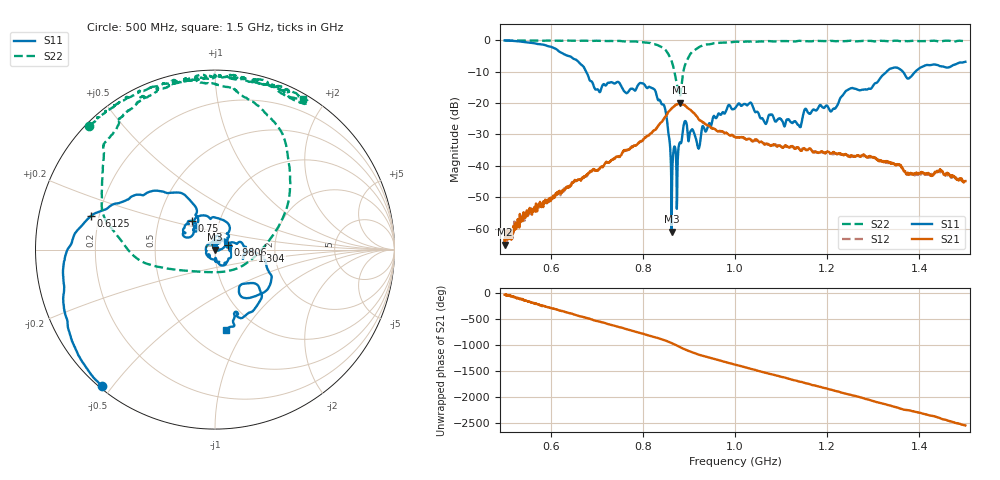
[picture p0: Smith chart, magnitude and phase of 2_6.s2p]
!Agilent Technologies,E8364B,US42250235,A.06.04.32
!Agilent E8364B: A.06.04.32
!Date: Friday, January 15, 2021 16:29:18
!Correction: S11(Full 2 Port(1,2)) S21(Full 2 Port(1,2)) S12(Full 2 Port(1,2)) S22(Full 2 Port(1,2))
!S2P File: Measurements: S11, S21, S12, S22:
# Hz S  dB  R 50
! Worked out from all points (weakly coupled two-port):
!   1601 points, 500 MHz to 1.5 GHz, reference 50 ohm
!   highest |S21| = -19.95 dB at 880 MHz (marker M1); lowest = -65.1 dB at 500.6 MHz (marker M2)
!   lowest |S11| = -61.0 dB at 862.5 MHz (marker M3), VSWR 1.00, Z = 50.1 + j0.0114 ohm
!   |S11| at or under -10 dB: 676.7 MHz to 1.329 GHz (652.8 MHz wide, 65.1 % of centre); 1.364 GHz to 1.392 GHz (27.61 MHz wide, 2 % of centre)
!   |S22| runs from -18.0 to -0.1 dB; largest |S21 - S12| = 0.0063
!   S11 on the Smith chart (normalised r, x): 500 MHz: 0.01, -0.47; 612.5 MHz: 0.17, +0.13; 750 MHz: 0.74, +0.25; 980.6 MHz: 1.15, +0.06; 1.304 GHz: 1.52, -0.03; 1.5 GHz: 0.73, -0.83
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5e8  -0.11 -129.6  -63.47 -27.3  -63.53 -23.2  -0.15 135.5
5.00625e8  -0.11 -129.8  -65.12 -26.5  -64.69 -24.0  -0.16 135.4
5.61875e8  -0.94 -160.3  -53.72 171.9  -54.17 172.0  -0.15 128.3
6.125e8  -2.90 164.8  -49.09 47.8  -49.03 43.6  -0.18 123.0
6.66875e8  -7.84 128.8  -44.14 -89.9  -44.40 -91.9  -0.21 115.4
7.01875e8  -15.68 137.7  -41.55 -178.3  -41.34 177.8  -0.20 111.8
7.5e8  -13.80 128.7  -37.17 64.6  -37.06 61.4  -0.26 104.4
8.3375e8  -19.16 53.5  -27.16 -146.6  -27.19 -149.7  -1.72 70.9
8.4875e8  -22.19 31.1  -24.40 169.2  -24.56 165.4  -3.04 55.8
8.625e8  -60.99 7.4  -21.68 119.3  -21.73 116.7  -6.70 30.2
8.8e8  -32.67 105.2  -19.95 46.4  -20.04 43.0  -17.97 -88.5
8.9125e8  -25.81 87.0  -20.77 -1.1  -20.79 -4.4  -8.05 -169.0
9.08125e8  -28.52 96.3  -22.91 -61.9  -22.92 -64.6  -3.58 161.5
9.20625e8  -34.33 66.8  -25.07 -101.5  -25.10 -103.8  -2.36 145.2
9.80625e8  -22.55 19.9  -29.44 113.0  -29.59 107.7  -0.77 119.3
1e9  -21.70 -0.5  -30.86 66.2  -30.78 62.2  -0.51 115.0
1.13875e9  -27.14 117.2  -34.45 101.2  -34.55 96.5  -0.21 94.0
1.166875e9  -22.59 49.8  -35.18 33.3  -35.21 30.8  -0.36 90.3
1.304375e9  -13.71 -2.4  -37.70 73.7  -37.66 67.7  -0.39 78.0
1.33375e9  -9.39 -24.0  -38.85 6.2  -39.08 -0.0  -0.38 75.5
1.376875e9  -12.23 -51.4  -42.83 -90.7  -42.81 -99.0  -0.33 70.3
1.5e9  -6.89 -82.3  -44.83 -23.4  -44.99 -30.7  -0.25 59.6
